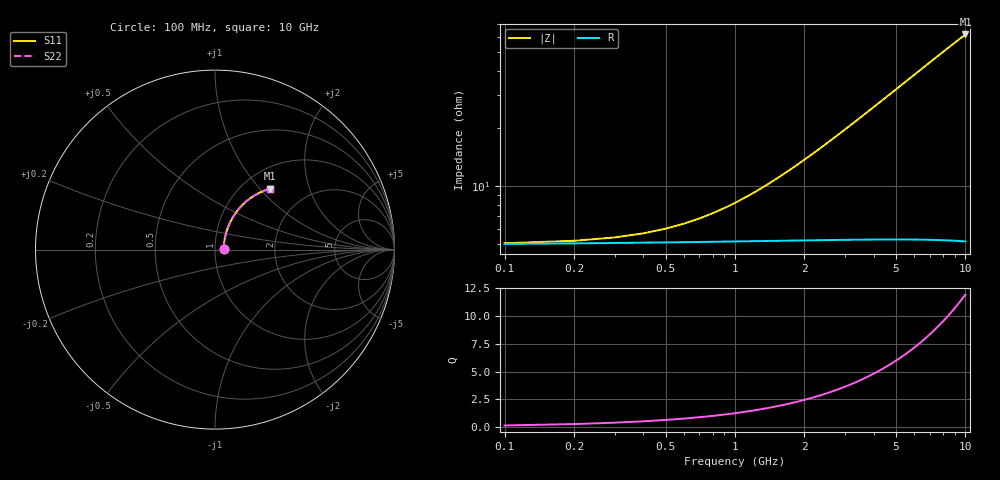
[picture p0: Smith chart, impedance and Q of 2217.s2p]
# Hz S RI R 50.00
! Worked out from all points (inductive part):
!   100 points, 100 MHz to 10 GHz, reference 50 ohm
!   read as one part in series: L = 1.01 nH near 2.5 GHz
!   highest Q = 12 at 10 GHz (marker M1), where L = 980 pH
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1e8  0.0476 0.00495  0.9524 -0.00658  0.9524 -0.00658  0.0476 0.00495
2e8  0.048 0.0099  0.952 -0.0132  0.952 -0.0132  0.048 0.0099
3e8  0.0484 0.0148  0.9516 -0.0197  0.9516 -0.0197  0.0484 0.0148
5e8  0.0493 0.0247  0.9507 -0.0328  0.9507 -0.0328  0.0493 0.0247
7e8  0.0504 0.0345  0.9495 -0.0459  0.9495 -0.0459  0.0504 0.0345
1.3e9  0.055 0.0637  0.9448 -0.0848  0.9448 -0.0848  0.055 0.0637
1.6e9  0.0581 0.0781  0.9415 -0.1041  0.9415 -0.1041  0.0581 0.0781
1.8e9  0.0605 0.0876  0.939 -0.1169  0.939 -0.1169  0.0605 0.0876
2.2e9  0.0661 0.1063  0.9333 -0.1421  0.9333 -0.1421  0.0661 0.1063
2.6e9  0.0726 0.1246  0.9265 -0.1669  0.9265 -0.1669  0.0726 0.1246
3e9  0.08 0.1424  0.9188 -0.1913  0.9188 -0.1913  0.08 0.1424
3.4e9  0.0883 0.1597  0.9101 -0.2151  0.9101 -0.2151  0.0883 0.1597
3.8e9  0.0974 0.1764  0.9006 -0.2383  0.9006 -0.2383  0.0974 0.1764
4.2e9  0.1074 0.1925  0.8902 -0.2609  0.8902 -0.2609  0.1074 0.1925
4.6e9  0.1181 0.2079  0.879 -0.2829  0.879 -0.2829  0.1181 0.2079
5.1e9  0.1324 0.2261  0.864 -0.3093  0.864 -0.3093  0.1324 0.2261
5.9e9  0.1572 0.2528  0.838 -0.3492  0.838 -0.3492  0.1572 0.2528
6.7e9  0.184 0.2764  0.8098 -0.3859  0.8098 -0.3859  0.184 0.2764
7.5e9  0.2123 0.2966  0.7799 -0.4194  0.7799 -0.4194  0.2123 0.2966
8.4e9  0.2454 0.3155  0.7448 -0.4533  0.7448 -0.4533  0.2454 0.3155
9.2e9  0.2754 0.3289  0.7127 -0.4801  0.7127 -0.4801  0.2754 0.3289
1e10  0.3057 0.3392  0.6802 -0.5038  0.6802 -0.5038  0.3057 0.3392
